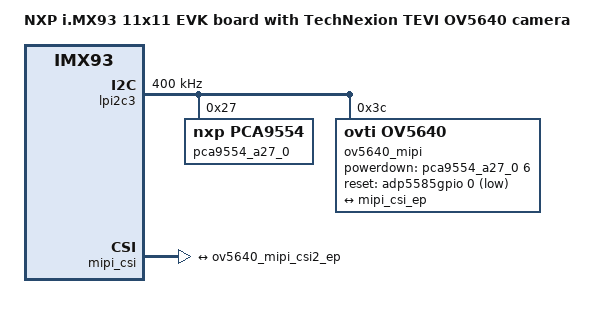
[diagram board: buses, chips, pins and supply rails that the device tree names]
// SPDX-License-Identifier: (GPL-2.0+ OR MIT)
/*
 * Copyright 2024 TechNexion Ltd.
 *
 * Author: Nian Yang <nian.yang@technexion.com>
 *
 */

#include "imx93-11x11-evk.dts"

/ {
	model = "NXP i.MX93 11x11 EVK board with TechNexion TEVI OV5640 camera";
	
	/delete-node/ regulator-dvdd_sel;
	/delete-node/ regulator-dvdd;
	/delete-node/ regulator-vdd;
	/delete-node/ regulator-vddo;
	/delete-node/ regulator-vaa_sel;
	/delete-node/ regulator-avdd;
};

&lpi2c3 {
	clock-frequency = <400000>;

	/delete-node/ ap1302_mipi@3c;
	/delete-node/ mfd-isp@34;
	
	pca9554_a27_0: pca9554@27 {
		compatible = "nxp,pca9554";
		pinctrl-names = "default";
		reg = <0x27>;
		gpio-controller;
		#gpio-cells = <2>;
		status = "okay";
		gpio-line-names = "EXPOSURE_TRIG_IN1", "FLASH_OUT1", "CAM_SHUTTER1", "XVS1",
							"CSI1_PDB", "CSI1_INT", "INFO_TRIG_IN1", "CSI1_RST_N";
	};

	ov5640_mipi: ov5640_mipi@3c {
		compatible = "ovti,ov5640";
		reg = <0x3c>;
		clocks = <&clk IMX93_CLK_CCM_CKO3>;
		clock-names = "xclk";		
		assigned-clocks = <&clk IMX93_CLK_CCM_CKO3>;
		assigned-clock-rates = <24000000>;

		// DOVDD-supply = <&vgen4_reg>; /* 1.8v */
		// AVDD-supply = <&vgen3_reg>;  /* 2.8v */
		// DVDD-supply = <&vgen2_reg>;  /* 1.5v */

		powerdown-gpios = <&pca9554_a27_0 6 GPIO_ACTIVE_HIGH>;
		reset-gpios = <&adp5585gpio 0 GPIO_ACTIVE_LOW>;
		rotation = <180>;

		status = "okay";

		port {
			ov5640_mipi_csi2_ep: endpoint {
				remote-endpoint = <&mipi_csi_ep>;
				clock-lanes = <0>;
				data-lanes = <1 2>;
			};
		};
	};
};

&mipi_csi {
	#address-cells = <1>;
	#size-cells = <0>;
	status = "okay";

	port@0 {
		reg = <0>;
		mipi_csi_ep: endpoint {
			remote-endpoint = <&ov5640_mipi_csi2_ep>;
			data-lanes = <2>;
			cfg-clk-range = <28>;
			hs-clk-range = <0x16>;
			bus-type = <4>;
		};
	};
};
